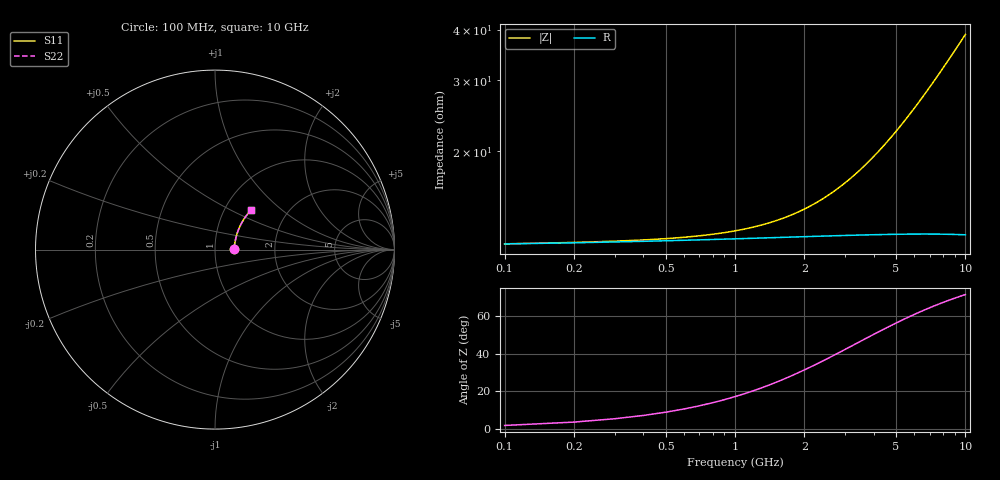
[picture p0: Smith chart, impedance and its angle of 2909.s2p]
# Hz S RI R 50.00
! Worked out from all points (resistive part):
!   100 points, 100 MHz to 10 GHz, reference 50 ohm
!   read as one part in series: R = 11.8 ohm at 100 MHz
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1e8  0.1052 0.00251  0.8948 -0.00346  0.8948 -0.00346  0.1052 0.00251
7e8  0.1079 0.0175  0.8921 -0.0241  0.8921 -0.0241  0.1079 0.0175
1e9  0.1089 0.0249  0.891 -0.0344  0.891 -0.0344  0.1089 0.0249
1.2e9  0.1097 0.0299  0.8902 -0.0412  0.8902 -0.0412  0.1097 0.0299
1.4e9  0.1105 0.0348  0.8894 -0.048  0.8894 -0.048  0.1105 0.0348
1.8e9  0.1122 0.0446  0.8877 -0.0616  0.8877 -0.0616  0.1122 0.0446
2.1e9  0.1136 0.0519  0.8862 -0.0718  0.8862 -0.0718  0.1136 0.0519
2.5e9  0.1157 0.0616  0.884 -0.0852  0.884 -0.0852  0.1157 0.0616
2.9e9  0.118 0.0712  0.8816 -0.0986  0.8816 -0.0986  0.118 0.0712
3.4e9  0.1213 0.0831  0.8781 -0.1152  0.8781 -0.1152  0.1213 0.0831
4.4e9  0.1291 0.1063  0.8699 -0.148  0.8699 -0.148  0.1291 0.1063
5.1e9  0.1355 0.1221  0.8632 -0.1704  0.8632 -0.1704  0.1355 0.1221
5.5e9  0.1395 0.1309  0.859 -0.183  0.859 -0.183  0.1395 0.1309
5.9e9  0.1438 0.1396  0.8545 -0.1955  0.8545 -0.1955  0.1438 0.1396
6.3e9  0.1483 0.1481  0.8498 -0.2078  0.8498 -0.2078  0.1483 0.1481
6.7e9  0.153 0.1565  0.8449 -0.22  0.8449 -0.22  0.153 0.1565
7.1e9  0.1579 0.1647  0.8397 -0.232  0.8397 -0.232  0.1579 0.1647
7.5e9  0.1631 0.1726  0.8342 -0.2438  0.8342 -0.2438  0.1631 0.1726
7.9e9  0.1684 0.1804  0.8286 -0.2554  0.8286 -0.2554  0.1684 0.1804
8.4e9  0.1754 0.1899  0.8212 -0.2696  0.8212 -0.2696  0.1754 0.1899
9.2e9  0.1872 0.2044  0.8087 -0.2918  0.8087 -0.2918  0.1872 0.2044
1e10  0.1997 0.218  0.7955 -0.3131  0.7955 -0.3131  0.1997 0.218
